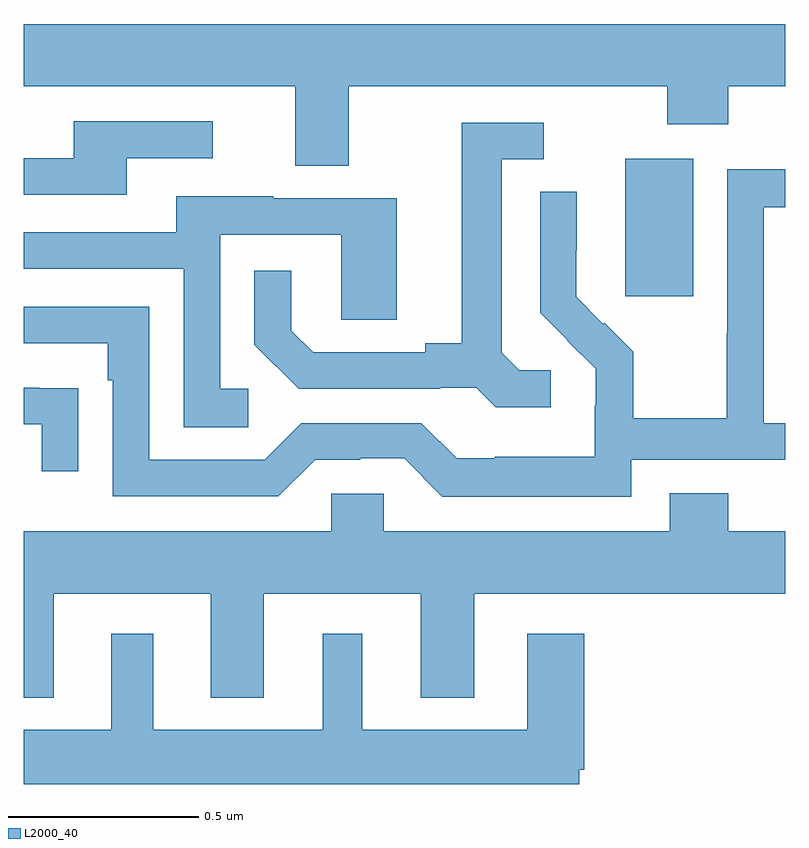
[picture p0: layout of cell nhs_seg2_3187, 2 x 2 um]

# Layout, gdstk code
import gdstk
lib = gdstk.Library(unit=1e-6, precision=1e-09)
def R(c, l, rs):  # rectangles x0, y0, x1, y1
    for r in rs: c.add(gdstk.rectangle(r[:2], r[2:], *l))
def P(c, l, *ps):  # polygons
    for p in ps: c.add(gdstk.Polygon(p, *l))
L2000_40 = (2000, 40)

nhs_seg2_3187 = lib.new_cell('nhs_seg2_3187')
R(nhs_seg2_3187, L2000_40, [(151.58,651.081,151.759,651.442)])
P(nhs_seg2_3187, L2000_40, [(150.853,651.632),(151.69,651.632),(151.69,651.533),(151.85,651.533),(151.85,651.632),(152,651.632),(152,651.796),(150,651.796),(150,651.632),(150.713,651.632),(150.713,651.424),(150.853,651.424)],
  [(150.271,651.444),(150.496,651.444),(150.496,651.54),(150.131,651.54),(150.131,651.444),(150,651.444),(150,651.348),(150.271,651.348)],
  [(151.384,650.886),(151.302,650.886),(151.255,650.933),(151.255,651.441),(151.366,651.441),(151.366,651.537),(151.151,651.537),(151.151,650.957),(151.055,650.957),(151.055,650.934),(150.76,650.934),(150.703,650.991),(150.703,651.148),(150.606,651.148),(150.606,650.954),(150.722,650.838),(151.094,650.838),(151.094,650.841),(151.188,650.841),(151.24,650.789),(151.384,650.789)],
  [(151.596,650.652),(152,650.652),(152,650.748),(151.944,650.748),(151.944,651.315),(152,651.315),(152,651.414),(151.848,651.414),(151.848,650.984),(151.846,650.984),(151.846,650.761),(151.601,650.761),(151.601,650.935),(151.524,651.012),(151.521,651.009),(151.451,651.08),(151.451,651.202),(151.452,651.202),(151.452,651.356),(151.356,651.356),(151.356,651.038),(151.429,650.965),(151.428,650.964),(151.502,650.89),(151.502,650.793),(151.5,650.793),(151.5,650.659),(151.237,650.659),(151.237,650.655),(151.137,650.655),(151.044,650.748),(150.729,650.748),(150.633,650.652),(150.33,650.652),(150.33,651.054),(150,651.054),(150,650.958),(150.221,650.958),(150.221,650.861),(150.234,650.861),(150.234,650.556),(150.669,650.556),(150.765,650.652),(150.884,650.652),(150.884,650.655),(150.999,650.655),(151.099,650.555),(151.596,650.555)],
  [(150.589,650.838),(150.516,650.838),(150.516,651.243),(150.834,651.243),(150.834,651.019),(150.979,651.019),(150.979,651.339),(150.655,651.339),(150.655,651.343),(150.401,651.343),(150.401,651.249),(150,651.249),(150,651.153),(150.42,651.153),(150.42,650.737),(150.589,650.737)],
  [(150.143,650.84),(150.041,650.84),(150.041,650.841),(150,650.841),(150,650.745),(150.047,650.745),(150.047,650.622),(150.143,650.622)],
  [(150.079,650.3),(150.491,650.3),(150.491,650.027),(150.631,650.027),(150.631,650.3),(151.043,650.3),(151.043,650.027),(151.183,650.027),(151.183,650.3),(152,650.3),(152,650.464),(151.85,650.464),(151.85,650.563),(151.697,650.563),(151.697,650.464),(150.945,650.464),(150.945,650.562),(150.807,650.562),(150.807,650.464),(150,650.464),(150,650.027),(150.079,650.027)],
  [(151.459,649.838),(151.472,649.838),(151.472,650.194),(151.322,650.194),(151.322,649.942),(150.889,649.942),(150.889,650.194),(150.785,650.194),(150.785,649.942),(150.34,649.942),(150.34,650.194),(150.23,650.194),(150.23,649.942),(150,649.942),(150,649.8),(151.459,649.8)])

lib.write_gds('nhs_seg2_3187.gds')
